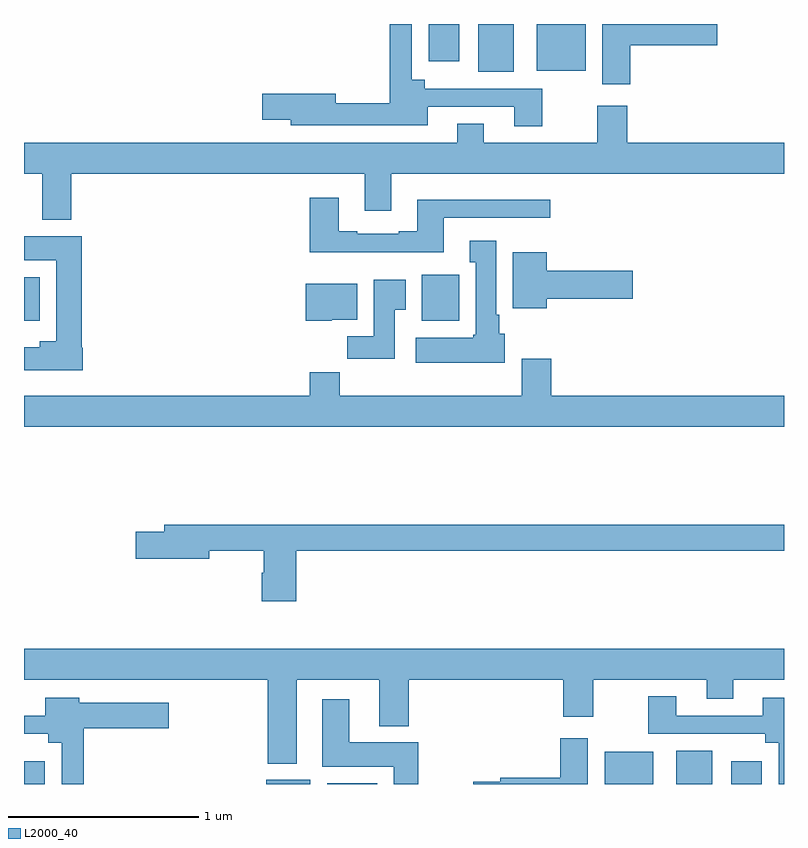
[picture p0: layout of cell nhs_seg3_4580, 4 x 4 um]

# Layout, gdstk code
import gdstk
lib = gdstk.Library(unit=1e-6, precision=1e-09)
def R(c, l, rs):  # rectangles x0, y0, x1, y1
    for r in rs: c.add(gdstk.rectangle(r[:2], r[2:], *l))
def P(c, l, *ps):  # polygons
    for p in ps: c.add(gdstk.Polygon(p, *l))
L2000_40 = (2000, 40)

nhs_seg3_4580 = lib.new_cell('nhs_seg3_4580')
R(nhs_seg3_4580, L2000_40, [(357,668.4,357.109,668.521), (358.274,668.4,358.507,668.422), (358.595,668.4,358.858,668.404), (360.056,668.4,360.313,668.569), (360.434,668.4,360.622,668.575), (360.722,668.4,360.883,668.521), (357,670.838,357.082,671.068), (359.093,670.838,359.29,671.08), (359.39,672.149,359.578,672.4), (359.699,672.155,359.956,672.4), (359.129,672.204,359.29,672.4)])
P(nhs_seg3_4580, L2000_40, [(360.191,672.287),(360.649,672.287),(360.649,672.4),(360.044,672.4),(360.044,672.084),(360.191,672.084)],
  [(359.727,672.06),(359.11,672.06),(359.11,672.106),(359.04,672.106),(359.04,672.4),(358.924,672.4),(358.924,671.984),(358.642,671.984),(358.642,672.032),(358.254,672.032),(358.254,671.897),(358.403,671.897),(358.403,671.868),(359.125,671.868),(359.125,671.964),(359.579,671.964),(359.579,671.862),(359.727,671.862)],
  [(357.248,671.612),(358.793,671.612),(358.793,671.418),(358.933,671.418),(358.933,671.612),(361,671.612),(361,671.776),(360.176,671.776),(360.176,671.971),(360.016,671.971),(360.016,671.776),(359.419,671.776),(359.419,671.875),(359.279,671.875),(359.279,671.776),(357,671.776),(357,671.612),(357.095,671.612),(357.095,671.369),(357.248,671.369)],
  [(359.209,671.379),(359.77,671.379),(359.77,671.476),(359.069,671.476),(359.069,671.308),(358.973,671.308),(358.973,671.295),(358.753,671.295),(358.753,671.308),(358.657,671.308),(358.657,671.485),(358.505,671.485),(358.505,671.198),(359.209,671.198)],
  [(357.31,670.695),(357.305,670.695),(357.305,671.284),(357,671.284),(357,671.156),(357.17,671.156),(357.17,670.729),(357.083,670.729),(357.083,670.699),(357,670.699),(357,670.577),(357.31,670.577)],
  [(359.53,670.77),(359.5,670.77),(359.5,670.87),(359.485,670.87),(359.485,671.26),(359.345,671.26),(359.345,671.147),(359.378,671.147),(359.378,670.764),(359.365,670.764),(359.365,670.75),(359.061,670.75),(359.061,670.616),(359.53,670.616)],
  [(359.752,670.955),(360.205,670.955),(360.205,671.102),(359.752,671.102),(359.752,671.2),(359.573,671.2),(359.573,670.904),(359.752,670.904)],
  [(358.951,670.897),(359.008,670.897),(359.008,671.053),(358.841,671.053),(358.841,670.756),(358.702,670.756),(358.702,670.638),(358.951,670.638)],
  [(358.62,670.844),(358.753,670.844),(358.753,671.032),(358.484,671.032),(358.484,670.838),(358.62,670.838)],
  [(361,670.444),(359.774,670.444),(359.774,670.639),(359.621,670.639),(359.621,670.444),(358.661,670.444),(358.661,670.568),(358.505,670.568),(358.505,670.444),(357,670.444),(357,670.28),(361,670.28)],
  [(358.433,669.628),(361,669.628),(361,669.764),(357.737,669.764),(357.737,669.728),(357.588,669.728),(357.588,669.586),(357.976,669.586),(357.976,669.628),(358.262,669.628),(358.262,669.513),(358.25,669.513),(358.25,669.363),(358.433,669.363)],
  [(358.435,668.948),(358.871,668.948),(358.871,668.705),(359.024,668.705),(359.024,668.948),(359.837,668.948),(359.837,668.754),(359.997,668.754),(359.997,668.948),(360.593,668.948),(360.593,668.849),(360.733,668.849),(360.733,668.948),(361,668.948),(361,669.112),(357,669.112),(357,668.948),(358.283,668.948),(358.283,668.507),(358.435,668.507)],
  [(361,668.854),(360.887,668.854),(360.887,668.76),(360.433,668.76),(360.433,668.863),(360.286,668.863),(360.286,668.664),(360.902,668.664),(360.902,668.618),(360.972,668.618),(360.972,668.4),(361,668.4)],
  [(357.314,668.693),(357.763,668.693),(357.763,668.827),(357.291,668.827),(357.291,668.854),(357.113,668.854),(357.113,668.76),(357,668.76),(357,668.664),(357.128,668.664),(357.128,668.618),(357.198,668.618),(357.198,668.4),(357.314,668.4)],
  [(359.076,668.62),(358.711,668.62),(358.711,668.845),(358.571,668.845),(358.571,668.492),(358.946,668.492),(358.946,668.4),(359.076,668.4)],
  [(359.968,668.641),(359.822,668.641),(359.822,668.432),(359.506,668.432),(359.506,668.412),(359.365,668.412),(359.365,668.4),(359.968,668.4)])

lib.write_gds('nhs_seg3_4580.gds')
